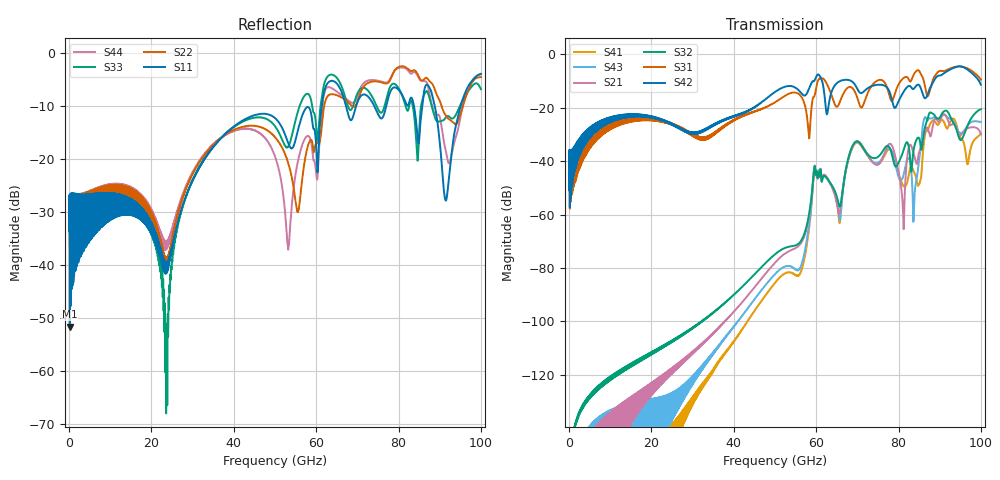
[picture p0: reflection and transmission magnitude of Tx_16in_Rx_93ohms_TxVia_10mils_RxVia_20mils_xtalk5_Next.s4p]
! Info: Touchstone file created by Circ.  Input file=Tx_16in_Rx_93ohms_TxVia_10mils_RxVia_20mils.circ
# Hz S RI R 50
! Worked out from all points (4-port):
!   10000 points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, 10 MHz to 100 GHz, reference 50 ohm
!   strongest paths, dB at 10 MHz, 25.01 GHz, 50.01 GHz, 75.01 GHz, 100 GHz:
!     S42: -50.9, -26.3, -14.1, -11.4, -11.4
!     S31: -50.9, -26.3, -18.0, -9.7, -9.5
!     S32: -178.2, -107.2, -74.9, -38.4, -20.6
!     S21: -, -117.6, -78.0, -41.3, -30.0
!     S43: -154.7, -126.8, -82.3, -40.7, -25.3
!     S41: -154.9, -145.7, -85.6, -41.1, -29.9
!   lowest |S11| = -51.7 dB at 200 MHz (marker M1), VSWR 1.01, Z = 49.8 - j0.13 ohm
!   |S11| at or under -10 dB: start of sweep to 61.39 GHz; 74.08 GHz to 77.02 GHz (2.936 GHz wide, 3.89 % of centre); 88.79 GHz to 95.1 GHz (6.317 GHz wide, 6.87 % of centre) (the widest 3 of 5)
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1e7  0.0206 -0.0029  4.1e-11 -3.52e-11  0.000668 0.00278  -4.32e-09 1.75e-08
     4.1e-11 -3.52e-11  0.021 -0.00296  6.31e-10 1.06e-09  0.000662 0.00277
     0.000668 0.00278  6.31e-10 1.06e-09  0.021 -0.00299  -5.72e-09 1.75e-08
     -4.32e-09 1.75e-08  0.000662 0.00277  -5.72e-09 1.75e-08  0.0206 -0.00295
2e8  -0.00226 -0.00131  4.07e-10 -3.04e-10  0.00145 0.00279  5.98e-11 -5.39e-10
     4.07e-10 -3.04e-10  -0.00229 -0.00125  2.54e-09 1.54e-08  0.00144 0.00281
     0.00145 0.00279  2.54e-09 1.54e-08  -0.00223 -0.00126  4.23e-10 5.04e-10
     5.98e-11 -5.39e-10  0.00144 0.00281  4.23e-10 5.04e-10  -0.00227 -0.00123
2.361e10  0.00235 0.0102  8.71e-07 5.28e-07  0.0219 -0.0466  1.86e-08 -2.68e-09
          8.71e-07 5.28e-07  -0.00418 -0.00806  3.58e-06 -7.83e-07  -0.00501 -0.0531
          0.0219 -0.0466  3.58e-06 -7.83e-07  0.000706 0.000434  3.59e-07 -1.56e-07
          1.86e-08 -2.68e-09  -0.00501 -0.0531  3.59e-07 -1.56e-07  -0.00822 -0.012
3.174e10  -0.027 0.0799  3.23e-06 -1.15e-06  -0.0267 -0.00199  4.09e-07 2.47e-07
          3.23e-06 -1.15e-06  0.00306 0.0939  6.03e-06 -7e-06  -0.0195 0.0299
          -0.0267 -0.00199  6.03e-06 -7e-06  -0.0386 0.0771  1.03e-06 -5.13e-07
          4.09e-07 2.47e-07  -0.0195 0.0299  1.03e-06 -5.13e-07  -0.00135 0.0976
5.576e10  0.1863 -0.0677  0.00011 0.000235  -0.0127 0.1805  5.89e-05 4.14e-05
          0.00011 0.000235  -0.0322 0.00772  6.7e-05 0.000278  0.1402 0.1589
          -0.0127 0.1805  6.7e-05 0.000278  0.2946 -0.0323  7.23e-05 5.64e-05
          5.89e-05 4.14e-05  0.1402 0.1589  7.23e-05 5.64e-05  0.011 -0.1019
5.98e10  0.0105 -0.1682  0.00577 -0.00322  -0.0719 0.1785  0.00497 -0.00389
         0.00577 -0.00322  0.0536 0.1232  0.0057 -0.00326  0.3237 0.1267
         -0.0719 0.1785  0.0057 -0.00326  0.0549 -0.2359  0.005 -0.00407
         0.00497 -0.00389  0.3237 0.1267  0.005 -0.00407  -0.0137 0.0852
1e11  -0.6311 0.00979  0.0112 -0.0295  0.0717 0.3283  -0.029 0.0134
      0.0112 -0.0295  -0.5906 0.0351  0.0587 0.0731  0.0996 0.2504
      0.0717 0.3283  0.0587 0.0731  -0.4472 0.0785  -0.00125 -0.0544
      -0.029 0.0134  0.0996 0.2504  -0.00125 -0.0544  -0.6304 0.0836
